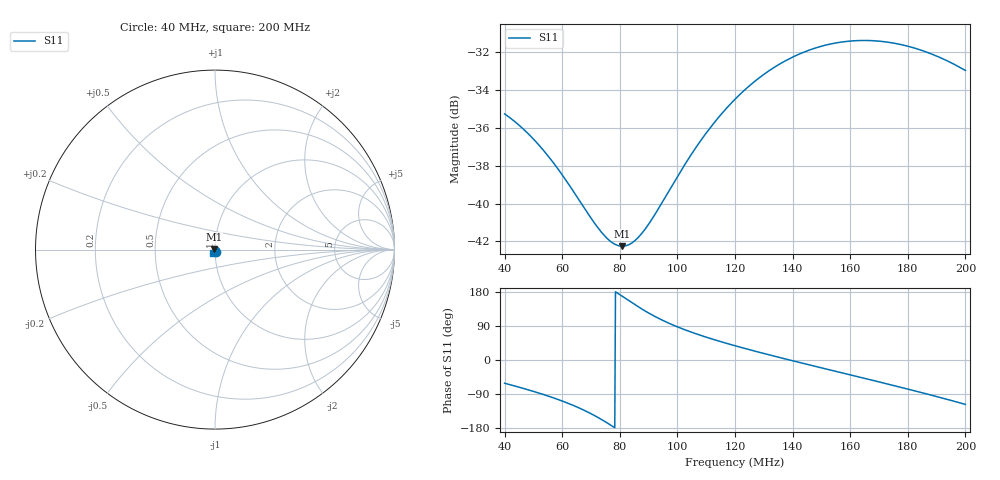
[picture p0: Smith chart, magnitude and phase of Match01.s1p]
# Hz S RI R 50
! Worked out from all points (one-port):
!   641 points, 40 MHz to 200 MHz, reference 50 ohm
!   lowest |S11| = -42.2 dB at 80.75 MHz (marker M1), VSWR 1.02, Z = 49.2 + j0.15 ohm
!   |S11| at or under -10 dB: start of sweep to end of sweep
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4e7  0.00828 -0.0151
4.425e7  0.00554 -0.0153
4.975e7  0.00201 -0.0147
5.475e7  -0.000988 -0.0134
6e7  -0.00373 -0.0113
6.975e7  -0.00713 -0.00583
7.35e7  -0.00772 -0.00338
7.7e7  -0.00786 -0.00101
8e7  -0.00766 0.00102
8.075e7  -0.00757 0.00153
8.425e7  -0.00688 0.00383
8.8e7  -0.00573 0.00616
9.2e7  -0.00404 0.00839
1e8  0.000513 0.0118
1.0525e8  0.00412 0.013
1.1025e8  0.00781 0.0133
1.15e8  0.0114 0.0128
1.2e8  0.0149 0.0115
1.2475e8  0.0181 0.00949
1.2975e8  0.0208 0.00665
1.3475e8  0.023 0.00322
1.4e8  0.0244 -0.000853
1.4975e8  0.0244 -0.00899
1.6e8  0.0208 -0.017
1.7e8  0.0143 -0.0227
1.8e8  0.00597 -0.0253
1.895e8  -0.00232 -0.0245
2e8  -0.0103 -0.02
